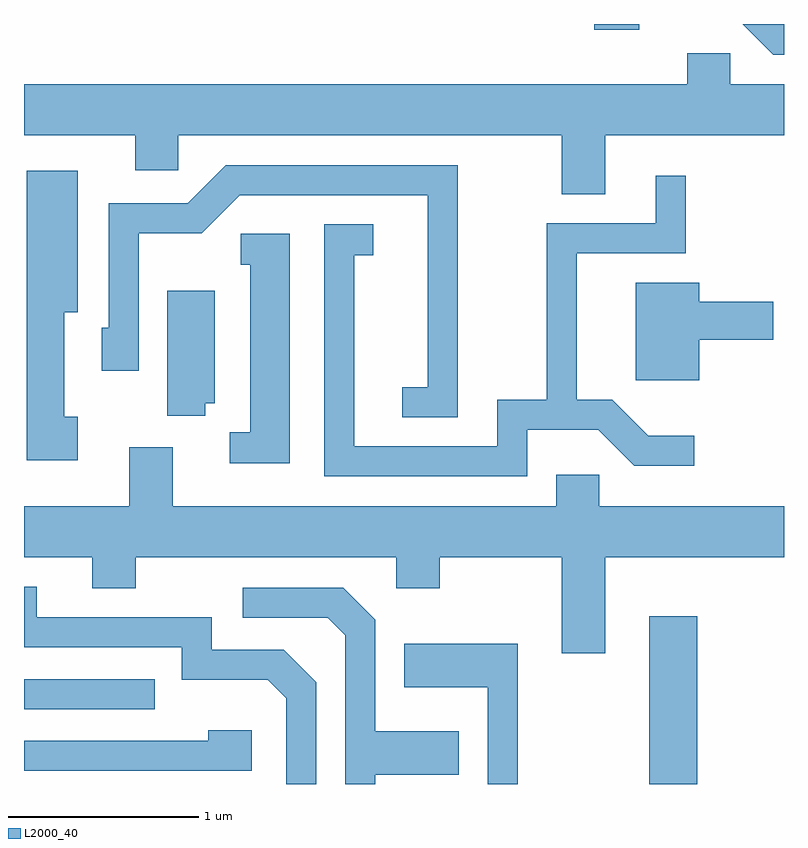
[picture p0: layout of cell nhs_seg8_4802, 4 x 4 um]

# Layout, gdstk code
import gdstk
lib = gdstk.Library(unit=1e-6, precision=1e-09)
def R(c, l, rs):  # rectangles x0, y0, x1, y1
    for r in rs: c.add(gdstk.rectangle(r[:2], r[2:], *l))
def P(c, l, *ps):  # polygons
    for p in ps: c.add(gdstk.Polygon(p, *l))
L2000_40 = (2000, 40)

nhs_seg8_4802 = lib.new_cell('nhs_seg8_4802')
R(nhs_seg8_4802, L2000_40, [(332.901,1826.342,333.154,1827.224), (329.611,1826.736,330.298,1826.894), (332.611,1830.311,332.848,1830.342)])
P(nhs_seg8_4802, L2000_40, [(333.611,1830.342),(333.393,1830.342),(333.554,1830.181),(333.611,1830.181)],
  [(332.669,1829.756),(333.611,1829.756),(333.611,1830.024),(333.329,1830.024),(333.329,1830.189),(333.101,1830.189),(333.101,1830.024),(329.611,1830.024),(329.611,1829.756),(330.196,1829.756),(330.196,1829.571),(330.424,1829.571),(330.424,1829.756),(332.441,1829.756),(332.441,1829.446),(332.669,1829.446)],
  [(331.894,1829.599),(330.674,1829.599),(330.474,1829.399),(330.056,1829.399),(330.056,1828.744),(330.021,1828.744),(330.021,1828.516),(330.214,1828.516),(330.214,1829.241),(330.547,1829.241),(330.747,1829.441),(331.736,1829.441),(331.736,1828.429),(331.603,1828.429),(331.603,1828.271),(331.894,1828.271)],
  [(329.894,1828.274),(329.824,1828.274),(329.824,1828.826),(329.894,1828.826),(329.894,1829.569),(329.626,1829.569),(329.626,1828.046),(329.894,1828.046)],
  [(332.259,1828.206),(332.634,1828.206),(332.824,1828.016),(333.138,1828.016),(333.138,1828.174),(332.897,1828.174),(332.707,1828.364),(332.519,1828.364),(332.519,1829.136),(333.094,1829.136),(333.094,1829.543),(332.936,1829.543),(332.936,1829.294),(332.361,1829.294),(332.361,1828.364),(332.101,1828.364),(332.101,1828.119),(331.349,1828.119),(331.349,1829.126),(331.448,1829.126),(331.448,1829.289),(331.191,1829.289),(331.191,1827.961),(332.259,1827.961)],
  [(331.009,1829.239),(330.753,1829.239),(330.753,1829.076),(330.801,1829.076),(330.801,1828.194),(330.693,1828.194),(330.693,1828.031),(331.009,1828.031)],
  [(333.164,1828.681),(333.554,1828.681),(333.554,1828.879),(333.164,1828.879),(333.164,1828.979),(332.831,1828.979),(332.831,1828.466),(333.164,1828.466)],
  [(330.564,1828.346),(330.614,1828.346),(330.614,1828.939),(330.366,1828.939),(330.366,1828.281),(330.564,1828.281)],
  [(332.669,1827.536),(333.611,1827.536),(333.611,1827.804),(332.639,1827.804),(332.639,1827.969),(332.411,1827.969),(332.411,1827.804),(330.394,1827.804),(330.394,1828.114),(330.166,1828.114),(330.166,1827.804),(329.611,1827.804),(329.611,1827.536),(329.971,1827.536),(329.971,1827.371),(330.199,1827.371),(330.199,1827.536),(331.571,1827.536),(331.571,1827.371),(331.799,1827.371),(331.799,1827.536),(332.441,1827.536),(332.441,1827.031),(332.669,1827.031)],
  [(331.149,1826.877),(330.977,1827.049),(330.599,1827.049),(330.599,1827.219),(329.679,1827.219),(329.679,1827.379),(329.611,1827.379),(329.611,1827.061),(330.441,1827.061),(330.441,1826.891),(330.894,1826.891),(330.991,1826.794),(330.991,1826.342),(331.149,1826.342)],
  [(331.459,1826.391),(331.899,1826.391),(331.899,1826.619),(331.459,1826.619),(331.459,1827.207),(331.292,1827.374),(330.763,1827.374),(330.763,1827.216),(331.209,1827.216),(331.301,1827.124),(331.301,1826.342),(331.459,1826.342)],
  [(332.209,1827.079),(331.611,1827.079),(331.611,1826.851),(332.051,1826.851),(332.051,1826.342),(332.209,1826.342)],
  [(330.809,1826.624),(330.581,1826.624),(330.581,1826.569),(329.611,1826.569),(329.611,1826.411),(330.809,1826.411)])

lib.write_gds('nhs_seg8_4802.gds')
